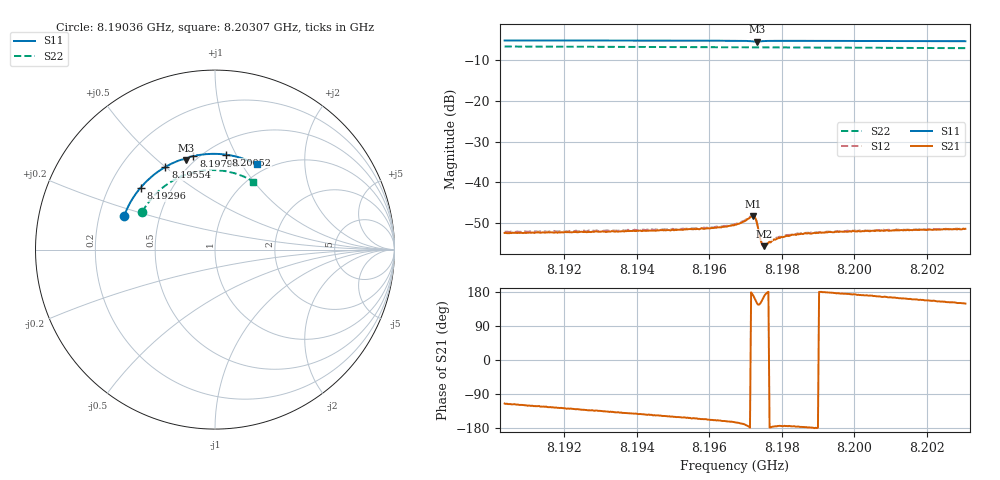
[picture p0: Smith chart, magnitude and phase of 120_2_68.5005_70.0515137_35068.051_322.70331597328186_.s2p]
#  HZ  S  RI  R  50.00
! Rohde & Schwarz Vector Network Analyzer
! Rohde-Schwarz,ZNB20-2Port,1311601062101988,3.16
! Created: UTC 3/20/2024, 5:09:04 PM
! freq[Hz]  re:S11  im:S11  re:S21  im:S21  re:S12  im:S12  re:S22  im:S22
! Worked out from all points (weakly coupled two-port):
!   401 points, 8.19036 GHz to 8.20307 GHz, reference 50 ohm
!   highest |S21| = -48.20 dB at 8.19722 GHz (marker M1); lowest = -55.5 dB at 8.1975 GHz (marker M2)
!   lowest |S11| = -5.6 dB at 8.19731 GHz (marker M3), VSWR 3.19, Z = 22.8 + j31.2 ohm
!   |S11| at or under -10 dB: nowhere
!   |S22| runs from -7.2 to -6.8 dB; largest |S21 - S12| = 0.00021
!   S11 on the Smith chart (normalised r, x): 8.19036 GHz: 0.31, +0.16; 8.19296 GHz: 0.33, +0.33; 8.19554 GHz: 0.39, +0.50; 8.19798 GHz: 0.47, +0.68; 8.20052 GHz: 0.62, +0.91; 8.20307 GHz: 0.88, +1.16
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8.190356e9  -0.507 0.1879  -0.00102 -0.0022  -0.00115 -0.00223  -0.405 0.2095
8.192485e9  -0.4355 0.3186  -0.00165 -0.00188  -0.00173 -0.0019  -0.3352 0.305
8.192962e9  -0.4147 0.3448  -0.00175 -0.00179  -0.00183 -0.00179  -0.3166 0.3237
8.194614e9  -0.3305 0.4248  -0.00216 -0.00143  -0.00227 -0.00136  -0.2429 0.3792
8.195535e9  -0.2762 0.4609  -0.00241 -0.00118  -0.00253 -0.00112  -0.1973 0.4034
8.196075e9  -0.2424 0.479  -0.00258 -0.00104  -0.00267 -0.000982  -0.1693 0.415
8.196711e9  -0.1999 0.497  -0.00294 -0.000813  -0.00302 -0.000706  -0.1353 0.4262
8.196933e9  -0.1835 0.5019  -0.00326 -0.000659  -0.00332 -0.000528  -0.1231 0.4295
8.197155e9  -0.1651 0.5029  -0.00382 9.47e-05  -0.0039 0.00029  -0.1109 0.4322
8.197219e9  -0.1607 0.5006  -0.00382 0.000749  -0.00386 0.000899  -0.1072 0.433
8.197283e9  -0.1596 0.4976  -0.0033 0.00146  -0.0033 0.00163  -0.1038 0.4336
8.197314e9  -0.1604 0.4973  -0.00279 0.00158  -0.00276 0.00177  -0.1022 0.4338
8.197441e9  -0.1591 0.5048  -0.00166 0.000782  -0.00166 0.000857  -0.0954 0.4356
8.197505e9  -0.1551 0.5086  -0.00163 0.000387  -0.00168 0.000437  -0.0918 0.4361
8.197569e9  -0.1503 0.5115  -0.00171 0.000137  -0.00172 0.000226  -0.0882 0.4369
8.197727e9  -0.1383 0.5161  -0.00193 -0.000125  -0.00197 -4.91e-05  -0.0794 0.4382
8.197982e9  -0.1199 0.5213  -0.00215 -0.000219  -0.00216 -9.67e-05  -0.065 0.4402
8.198299e9  -0.0971 0.5259  -0.0023 -0.000194  -0.00236 -8.11e-05  -0.0471 0.4419
8.198839e9  -0.0587 0.5312  -0.00239 -5.49e-05  -0.00244 3.62e-05  -0.0165 0.4431
8.200523e9  0.0604 0.529  -0.00253 0.000508  -0.00253 0.000607  0.0785 0.4332
8.200968e9  0.0915 0.524  -0.00249 0.000648  -0.00253 0.000735  0.1033 0.427
8.203065e9  0.2313 0.4759  -0.00233 0.0014  -0.0023 0.00147  0.2134 0.3794
